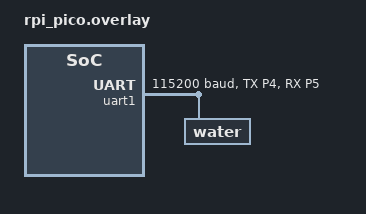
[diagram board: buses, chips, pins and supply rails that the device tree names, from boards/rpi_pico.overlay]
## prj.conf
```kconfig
# Copyright (c) 2021 Nordic Semiconductor ASA
# SPDX-License-Identifier: Apache-2.0

# Enable required Zephyr driver classes
CONFIG_SENSOR=y
CONFIG_WATER=y
CONFIG_SERIAL=y
CONFIG_GPIO=y
CONFIG_WATER_OVER_8X=y
CONFIG_WATER_RES_1X=y
CONFIG_LOG=y


CONFIG_UART_INTERRUPT_DRIVEN=y
```

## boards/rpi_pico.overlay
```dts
&pinctrl {
	uart1_default: uart1_default {
		group1 {
			pinmux = <UART1_TX_P4>;
		};
		group2 {
			pinmux = <UART1_RX_P5>;
			input-enable;
		};
};
};

&uart1 {
current-speed = <115200>;
status = "okay";
pinctrl-0 = <&uart1_default>;
pinctrl-names = "default";
		
	water: water {
		compatible = "zephyr,water";
		status = "okay";
};
};


&i2c0 {
	status = "disabled";
};

&spi0{
	status = "disabled";
};
```

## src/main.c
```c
/**
 * @file main.c
 * @brief Application to interact with the water sensor driver
 */

#include <app/drivers/sensor/water.h>
#include <app_version.h>
#include <stdio.h>
#include <zephyr/device.h>
#include <zephyr/devicetree.h>
#include <zephyr/drivers/gpio.h>
#include <zephyr/drivers/sensor.h>
#include <zephyr/drivers/uart.h>
#include <zephyr/kernel.h>
#include <zephyr/logging/log.h>

#define SLEEP_TIME_MS 1000
LOG_MODULE_REGISTER(app, LOG_LEVEL_DBG);

int main(void) {
  printk("Zephyr Example Application %s\n", APP_VERSION_STRING);

  LOG_INF("Zephyr base station main started");

  const struct device *water_dev =
      device_get_binding(DT_NODE_FULL_NAME(DT_NODELABEL(water)));

  struct sensor_value ph, temp, turb;
  int ret;

  if (!device_is_ready(water_dev)) {
    LOG_INF("water sensor device not ready %d", device_is_ready(water_dev));
    return -1;
  }

  while (1) {
    /* Get PH value */
    ret = sensor_sample_fetch_chan(water_dev, WATER_CHAN_PH);
    if (ret) {
      LOG_ERR("Failed to fetch PH value (err %d)", ret);
    } else {
      ret = sensor_channel_get(water_dev, WATER_CHAN_PH, &ph);
      if (ret) {
        LOG_ERR("Failed to get PH value (err %d)", ret);
      } else {
        LOG_INF("PH: %d.%06d", ph.val1, ph.val2);
      }
    }

    /* Get temperature value */
    ret = sensor_sample_fetch_chan(water_dev, WATER_CHAN_TEMP);
    if (ret) {
      LOG_ERR("Failed to fetch temperature value (err %d)", ret);
    } else {
      ret = sensor_channel_get(water_dev, WATER_CHAN_TEMP, &temp);
      if (ret) {
        LOG_ERR("Failed to get temperature value (err %d)", ret);
      } else {
        LOG_INF("Temperature: %d.%06d", temp.val1, temp.val2);
      }
    }

    /* Get turbidity value */
    ret = sensor_sample_fetch_chan(water_dev, WATER_CHAN_TURB);
    if (ret) {
      LOG_ERR("Failed to fetch turbidity value (err %d)", ret);
    } else {
      ret = sensor_channel_get(water_dev, WATER_CHAN_TURB, &turb);
      if (ret) {
        LOG_ERR("Failed to get turbidity value (err %d)", ret);
      } else {
        LOG_INF("Turbidity: %d.%06d", turb.val1, turb.val2);
      }
    }
    k_msleep(2000);
  }
  return 0;
}
```
